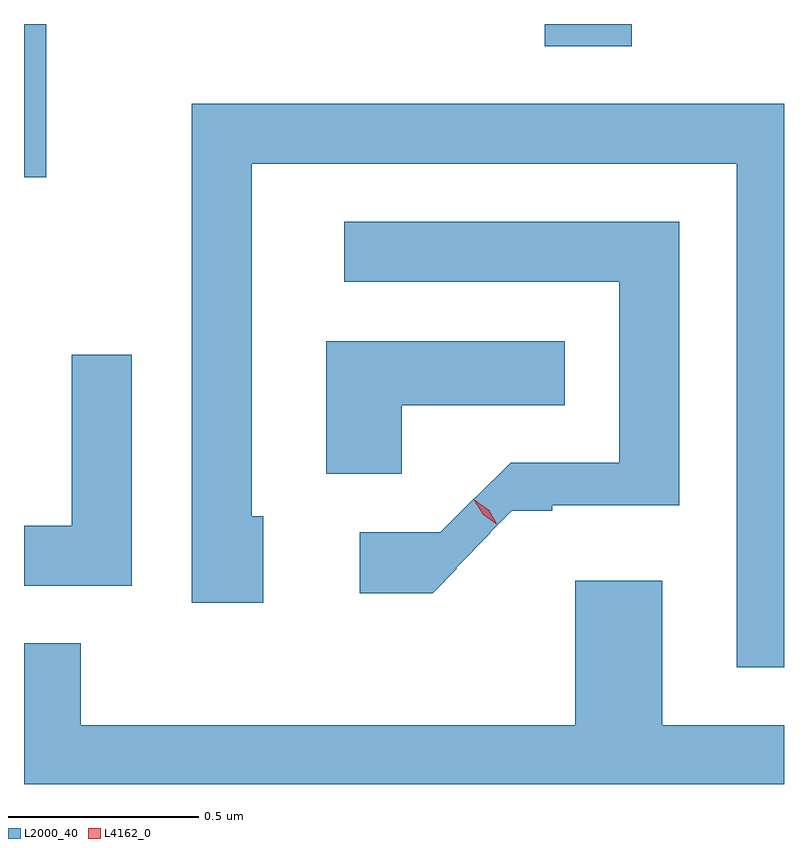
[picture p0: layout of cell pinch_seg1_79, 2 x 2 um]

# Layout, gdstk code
import gdstk
lib = gdstk.Library(unit=1e-6, precision=1e-09)
def R(c, l, rs):  # rectangles x0, y0, x1, y1
    for r in rs: c.add(gdstk.rectangle(r[:2], r[2:], *l))
def P(c, l, *ps):  # polygons
    for p in ps: c.add(gdstk.Polygon(p, *l))
L2000_40 = (2000, 40)
L4162_0 = (4162, 0)

pinch_seg1_79 = lib.new_cell('pinch_seg1_79')
R(pinch_seg1_79, L2000_40, [(1385.55,905.726,1385.609,906.129), (1386.921,906.071,1387.149,906.129)])
P(pinch_seg1_79, L2000_40, [(1387.55,905.919),(1385.991,905.919),(1385.991,904.606),(1386.179,904.606),(1386.179,904.834),(1386.149,904.834),(1386.149,905.761),(1387.426,905.761),(1387.426,904.436),(1387.55,904.436)],
  [(1386.689,904.695),(1386.687,904.698),(1386.777,904.789),(1386.775,904.79),(1386.833,904.848),(1386.94,904.848),(1386.94,904.863),(1387.274,904.863),(1387.274,905.609),(1386.393,905.609),(1386.393,905.451),(1387.116,905.451),(1387.116,904.974),(1386.831,904.974),(1386.738,904.882),(1386.737,904.883),(1386.646,904.791),(1386.433,904.791),(1386.433,904.631),(1386.625,904.631)],
  [(1386.544,905.126),(1386.973,905.126),(1386.973,905.294),(1386.346,905.294),(1386.346,904.946),(1386.544,904.946)],
  [(1385.834,905.258),(1385.676,905.258),(1385.676,904.809),(1385.55,904.809),(1385.55,904.651),(1385.834,904.651)],
  [(1387.55,904.284),(1387.229,904.284),(1387.229,904.664),(1387.001,904.664),(1387.001,904.284),(1385.699,904.284),(1385.699,904.499),(1385.55,904.499),(1385.55,904.129),(1387.55,904.129)])
P(pinch_seg1_79, L4162_0, [(1386.792,904.815),(1386.758,904.837),(1386.738,904.872),(1386.738,904.873),(1386.739,904.873),(1386.773,904.851),(1386.793,904.816),(1386.793,904.815)],
  [(1386.796,904.811),(1386.758,904.837),(1386.734,904.877),(1386.734,904.878),(1386.734,904.878),(1386.772,904.851),(1386.796,904.811),(1386.796,904.811)])

lib.write_gds('pinch_seg1_79.gds')
